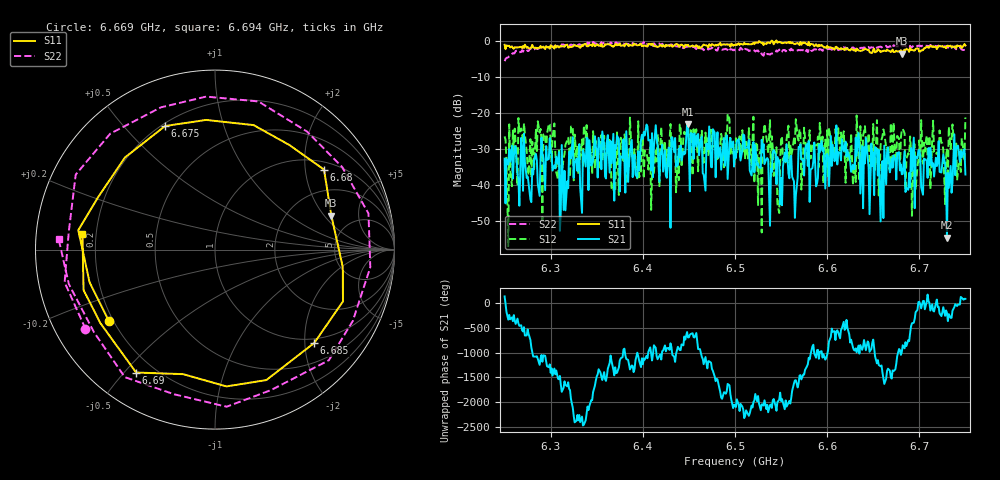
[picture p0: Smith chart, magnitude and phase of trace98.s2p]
# Hz S RI R 50
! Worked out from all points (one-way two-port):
!   401 points, 6.25 GHz to 6.75 GHz, reference 50 ohm
!   highest |S21| = -23.04 dB at 6.449 GHz (marker M1); lowest = -54.8 dB at 6.73 GHz (marker M2)
!   lowest |S11| = -3.4 dB at 6.681 GHz (marker M3), VSWR 5.16, Z = 171 + j118 ohm
!   |S11| at or under -10 dB: nowhere
!   |S22| runs from -5.5 to -0.1 dB; largest |S21 - S12| = 0.12
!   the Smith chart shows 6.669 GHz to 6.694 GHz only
!   S11 on the Smith chart (normalised r, x): 6.669 GHz: 0.18, -0.30; 6.675 GHz: 0.21, +0.65; 6.68 GHz: 1.23, +2.53; 6.685 GHz: 0.90, -2.21; 6.69 GHz: 0.13, -0.54; 6.694 GHz: 0.15, +0.06
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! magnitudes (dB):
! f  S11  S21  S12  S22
! 6.25 GHz  -0.9  -32.7  -26.5  -5.5
! 6.255 GHz  -1.2  -30.1  -23.1  -4.1
! 6.268 GHz  -1.5  -26.9  -24.3  -2.9
! 6.31 GHz  -1.4  -52.9  -39.1  -1.4
! 6.334 GHz  -1.1  -47.8  -27.4  -1.0
! 6.418 GHz  -1.4  -39.2  -40.4  -0.6
! 6.449 GHz  -1.0  -23.0  -23.7  -1.4
! 6.5 GHz  -1.0  -30.7  -32.9  -2.5
! 6.528 GHz  -0.3  -35.3  -30.5  -2.9
! 6.535 GHz  -0.3  -32.6  -28.3  -3.5
! 6.545 GHz  0.3  -39.8  -29.5  -2.5
! 6.584 GHz  -0.8  -35.4  -28.6  -2.6
! 6.668 GHz  -2.7  -36.5  -36.0  -1.3
! 6.669 GHz  -2.9  -35.2  -22.8  -1.5
! 6.675 GHz  -2.6  -38.5  -31.3  -1.4
! 6.68 GHz  -2.5  -34.4  -26.9  -1.5
! 6.681 GHz  -3.4  -37.1  -24.7  -1.1
! 6.685 GHz  -2.4  -42.0  -41.4  -1.1
! 6.69 GHz  -1.8  -40.8  -26.5  -1.2
! 6.694 GHz  -2.6  -26.9  -28.6  -1.2
! 6.73 GHz  -1.3  -54.8  -29.9  -1.5
! 6.75 GHz  -1.1  -37.1  -21.2  -2.4
